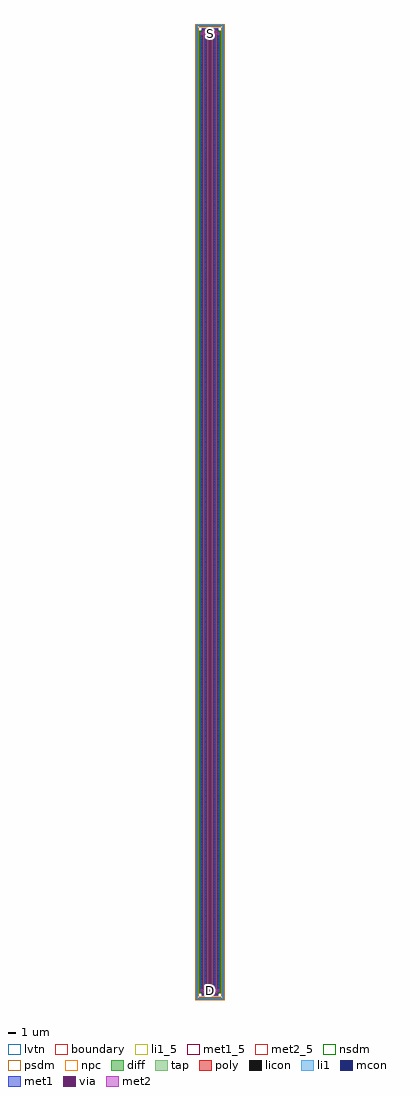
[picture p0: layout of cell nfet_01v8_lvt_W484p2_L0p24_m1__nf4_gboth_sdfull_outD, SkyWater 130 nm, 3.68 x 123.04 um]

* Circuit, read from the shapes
.subckt nfet_01v8_lvt_W484p2_L0p24_m1__nf4_gboth_sdfull_outD B D G S
XM1 S G D B sky130_fd_pr__nfet_01v8_lvt w=121.05 l=0.24 m=4
.ends

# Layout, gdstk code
import gdstk
lib = gdstk.Library(unit=1e-6, precision=1e-09)
def R(c, l, rs):  # rectangles x0, y0, x1, y1
    for r in rs: c.add(gdstk.rectangle(r[:2], r[2:], *l))
def A(c, l, x, y, w, h, nx, ny, dx, dy):  # array of equal rectangles
    R(c, l, [(x+i*dx, y+j*dy, x+i*dx+w, y+j*dy+h) for i in range(nx) for j in range(ny)])
diff = (65, 20)
tap = (65, 44)
poly = (66, 20)
licon = (66, 44)
li1_5 = (67, 5)
li1 = (67, 20)
mcon = (67, 44)
met1_5 = (68, 5)
met1 = (68, 20)
via = (68, 44)
met2_5 = (69, 5)
met2 = (69, 20)
nsdm = (93, 44)
psdm = (94, 20)
npc = (95, 20)
lvtn = (125, 44)
boundary = (235, 4)

sky130_fd_pr__nfet_01v8_ = lib.new_cell('sky130_fd_pr__nfet_01v8_lvt_7NC4BW')
R(sky130_fd_pr__nfet_01v8_, diff, [(-1.205,-60.525,1.205,60.525)])
R(sky130_fd_pr__nfet_01v8_, tap, [(-1.715,-61.395,1.715,-61.225), (-1.715,-61.225,-1.545,61.225), (1.545,-61.225,1.715,61.225), (-1.715,61.225,1.715,61.395)])
A(sky130_fd_pr__nfet_01v8_, poly, -0.915, -60.635, 0.24, 121.27, 4, 1, 0.53, 0)
R(sky130_fd_pr__nfet_01v8_, poly, [(-1.06,-60.965,1.06,-60.635), (-1.06,60.635,1.06,60.965)])
A(sky130_fd_pr__nfet_01v8_, licon, -1.105, -61.395, 0.17, 0.17, 7, 2, 0.34, 122.62)
A(sky130_fd_pr__nfet_01v8_, licon, -0.88, -60.885, 0.17, 0.17, 4, 2, 0.53, 121.6)
A(sky130_fd_pr__nfet_01v8_, licon, -1.715, -60.775, 0.17, 0.17, 1, 358, 0, 0.34)
A(sky130_fd_pr__nfet_01v8_, licon, 1.545, -60.775, 0.17, 0.17, 1, 358, 0, 0.34)
A(sky130_fd_pr__nfet_01v8_, licon, -1.145, -60.435, 0.17, 0.17, 5, 356, 0.53, 0.34)
A(sky130_fd_pr__nfet_01v8_, li1, -1.145, -60.545, 0.17, 121.09, 5, 1, 0.53, 0)
R(sky130_fd_pr__nfet_01v8_, li1, [(-1.715,-61.395,1.715,-61.225), (-1.715,-61.225,-1.545,61.225), (1.545,-61.225,1.715,61.225), (-1.06,-60.885,1.06,-60.715), (-1.06,60.715,1.06,60.885), (-1.715,61.225,1.715,61.395)])
A(sky130_fd_pr__nfet_01v8_, mcon, -0.88, -60.885, 0.17, 0.17, 4, 2, 0.53, 121.6)
A(sky130_fd_pr__nfet_01v8_, mcon, -1.145, -60.385, 0.17, 0.17, 5, 336, 0.53, 0.36)
A(sky130_fd_pr__nfet_01v8_, met1, -0.94, -60.915, 0.29, 0.03, 4, 2, 0.53, 0.2)
A(sky130_fd_pr__nfet_01v8_, met1, -1.175, -60.525, 0.23, 121.05, 5, 1, 0.53, 0)
A(sky130_fd_pr__nfet_01v8_, met1, -0.94, 60.685, 0.29, 0.03, 4, 2, 0.53, 0.2)
R(sky130_fd_pr__nfet_01v8_, met1, [(-1.06,-60.885,1.06,-60.715), (-1.06,60.715,1.06,60.885)])
R(sky130_fd_pr__nfet_01v8_, nsdm, [(-1.33,-60.65,1.33,60.65)])
R(sky130_fd_pr__nfet_01v8_, psdm, [(-1.84,-61.52,1.84,-61.1), (-1.84,-61.1,-1.42,61.1), (1.42,-61.1,1.84,61.1), (-1.84,61.1,1.84,61.52)])
R(sky130_fd_pr__nfet_01v8_, npc, [(-0.98,-60.985,0.98,-60.615), (-0.98,60.615,0.98,60.985)])
R(sky130_fd_pr__nfet_01v8_, lvtn, [(-1.095,-60.705,1.095,60.705)])
R(sky130_fd_pr__nfet_01v8_, boundary, [(-1.63,-61.31,1.63,61.31)])
sky130_fd_pr__nfet_01v8_.add(gdstk.Label('B', (0,-61.31), layer=67, texttype=5))
sky130_fd_pr__nfet_01v8_.add(gdstk.Label('D0', (-1.06,0), layer=67, texttype=5))
sky130_fd_pr__nfet_01v8_.add(gdstk.Label('G', (0.795,60.8), layer=67, texttype=5))
sky130_fd_pr__nfet_01v8_.add(gdstk.Label('G', (0.265,60.8), layer=67, texttype=5))
sky130_fd_pr__nfet_01v8_.add(gdstk.Label('G', (-0.265,60.8), layer=67, texttype=5))
sky130_fd_pr__nfet_01v8_.add(gdstk.Label('G', (-0.795,60.8), layer=67, texttype=5))
sky130_fd_pr__nfet_01v8_.add(gdstk.Label('S1', (-0.53,0), layer=67, texttype=5))
sky130_fd_pr__nfet_01v8_.add(gdstk.Label('D2', (0,0), layer=67, texttype=5))
sky130_fd_pr__nfet_01v8_.add(gdstk.Label('S3', (0.53,0), layer=67, texttype=5))

nfet_01v8_lvt_w484p2_l0p = lib.new_cell('nfet_01v8_lvt_W484p2_L0p24_m1__nf4_gboth_sdfull_outD')
R(nfet_01v8_lvt_w484p2_l0p, li1_5, [(1.545,-0.085,1.715,0.085)])
R(nfet_01v8_lvt_w484p2_l0p, li1, [(1.545,-0.085,1.715,0.085)])
R(nfet_01v8_lvt_w484p2_l0p, met1_5, [(0.57,121.995,2.69,122.225)])
A(nfet_01v8_lvt_w484p2_l0p, met1, 0.44, 0.835, 0.26, 0.32, 3, 1, 1.06, 0)
R(nfet_01v8_lvt_w484p2_l0p, met1, [(0.97,121.465,1.23,121.785), (2.03,121.465,2.29,121.785), (0.57,121.995,2.69,122.225)])
A(nfet_01v8_lvt_w484p2_l0p, via, 0.495, 0.92, 0.15, 0.15, 3, 1, 1.06, 0)
R(nfet_01v8_lvt_w484p2_l0p, via, [(1.025,121.55,1.175,121.7), (2.085,121.55,2.235,121.7)])
R(nfet_01v8_lvt_w484p2_l0p, met2_5, [(0.435,0.835,2.825,1.155), (0.435,121.465,2.825,121.785)])
R(nfet_01v8_lvt_w484p2_l0p, met2, [(0.435,0.835,2.825,1.155), (0.435,121.465,2.825,121.785)])
nfet_01v8_lvt_w484p2_l0p.add(gdstk.Reference(sky130_fd_pr__nfet_01v8_, (1.63,61.31)))
nfet_01v8_lvt_w484p2_l0p.add(gdstk.Label('S', (1.63,121.625), layer=69, texttype=5))
nfet_01v8_lvt_w484p2_l0p.add(gdstk.Label('D', (1.63,0.995), layer=69, texttype=5))
nfet_01v8_lvt_w484p2_l0p.add(gdstk.Label('G', (1.63,122.11), layer=68, texttype=5))
nfet_01v8_lvt_w484p2_l0p.add(gdstk.Label('B', (1.63,0), layer=67, texttype=5))

lib.write_gds('nfet_01v8_lvt_W484p2_L0p24_m1__nf4_gboth_sdfull_outD.gds')
